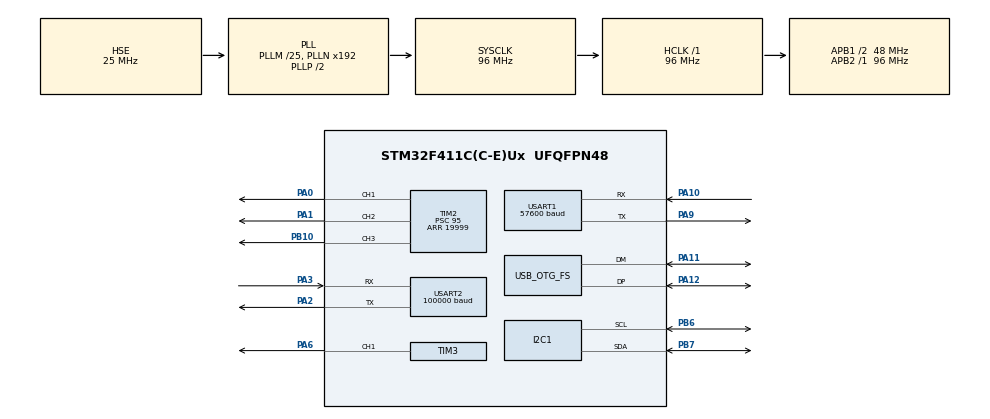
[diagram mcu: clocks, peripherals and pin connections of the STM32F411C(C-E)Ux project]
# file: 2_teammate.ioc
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Mcu.Family=STM32F4
Mcu.Name=STM32F411C(C-E)Ux
Mcu.Package=UFQFPN48
NVIC.OTG_FS_IRQn=true\:0\:0\:false\:false\:true\:false\:true\:true
NVIC.PriorityGroup=NVIC_PRIORITYGROUP_4
NVIC.USART1_IRQn=true\:0\:0\:false\:false\:true\:true\:true\:true
NVIC.USART2_IRQn=true\:0\:0\:false\:false\:true\:true\:true\:true
PA0-WKUP.Signal=S_TIM2_CH1_ETR
PA1.Signal=S_TIM2_CH2
PA10.Mode=Asynchronous
PA10.Signal=USART1_RX
PA11.Mode=Device_Only
PA11.Signal=USB_OTG_FS_DM
PA12.Mode=Device_Only
PA12.Signal=USB_OTG_FS_DP
PA13.Mode=Serial_Wire
PA13.Signal=SYS_JTMS-SWDIO
PA14.Mode=Serial_Wire
PA14.Signal=SYS_JTCK-SWCLK
PA2.Mode=Asynchronous
PA2.Signal=USART2_TX
PA3.Mode=Asynchronous
PA3.Signal=USART2_RX
PA6.Signal=S_TIM3_CH1
PA9.Mode=Asynchronous
PA9.Signal=USART1_TX
PB10.Signal=S_TIM2_CH3
PB6.Mode=I2C
PB6.Signal=I2C1_SCL
PB7.Mode=I2C
PB7.Signal=I2C1_SDA
PH0\ -\ OSC_IN.Mode=HSE-External-Oscillator
PH0\ -\ OSC_IN.Signal=RCC_OSC_IN
PH1\ -\ OSC_OUT.Mode=HSE-External-Oscillator
PH1\ -\ OSC_OUT.Signal=RCC_OSC_OUT
ProjectManager.HeapSize=0x200
ProjectManager.StackSize=0x400
ProjectManager.TargetToolchain=STM32CubeIDE
RCC.48MHZClocksFreq_Value=48000000
RCC.AHBFreq_Value=96000000
RCC.APB1CLKDivider=RCC_HCLK_DIV2
RCC.APB1Freq_Value=48000000
RCC.APB1TimFreq_Value=96000000
RCC.APB2Freq_Value=96000000
RCC.APB2TimFreq_Value=96000000
RCC.CortexFreq_Value=96000000
RCC.HCLKFreq_Value=96000000
RCC.HSE_VALUE=25000000
RCC.HSI_VALUE=16000000
RCC.LSE_VALUE=32768
RCC.PLLM=25
RCC.SYSCLKFreq_VALUE=96000000
RCC.SYSCLKSource=RCC_SYSCLKSOURCE_PLLCLK
RCC.VCOOutputFreq_Value=192000000
SH.S_TIM2_CH1_ETR.0=TIM2_CH1,PWM Generation1 CH1
SH.S_TIM2_CH2.0=TIM2_CH2,PWM Generation2 CH2
SH.S_TIM2_CH3.0=TIM2_CH3,PWM Generation3 CH3
SH.S_TIM3_CH1.0=TIM3_CH1,PWM Generation1 CH1
TIM2.Channel-PWM\ Generation1\ CH1=TIM_CHANNEL_1
TIM2.Channel-PWM\ Generation2\ CH2=TIM_CHANNEL_2
TIM2.Channel-PWM\ Generation3\ CH3=TIM_CHANNEL_3
TIM2.Period=19999
TIM2.Prescaler=95
TIM3.Channel-PWM\ Generation1\ CH1=TIM_CHANNEL_1
USART1.BaudRate=57600
USART1.VirtualMode=VM_ASYNC
USART2.BaudRate=100000
USART2.Parity=PARITY_EVEN
USART2.StopBits=STOPBITS_2
USART2.VirtualMode=VM_ASYNC
USART2.WordLength=WORDLENGTH_9B
USB_DEVICE.CLASS_NAME_FS=CDC
USB_DEVICE.VirtualMode=Cdc
USB_DEVICE.VirtualModeFS=Cdc_FS
USB_OTG_FS.VirtualMode=Device_Only
VP_TIM2_VS_ClockSourceINT.Mode=Internal
VP_USB_DEVICE_VS_USB_DEVICE_CDC_FS.Mode=CDC_FS
board=custom

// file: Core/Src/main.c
/* USER CODE BEGIN Header */
/**
  ******************************************************************************
  * @file           : main.c
  * @brief          : Main program body - UAV Flight Controller (STM32F411)
  ******************************************************************************
  */
/* USER CODE END Header */
#include "main.h"
#include "usb_device.h"

/* USER CODE BEGIN Includes */
#include "mpu6050.h"
#include "bmp280.h"
#include "servo.h"
#include "pid.h"
#include "sbus.h"
#include "mav_telemetry.h"
/* USER CODE END Includes */

/* USER CODE BEGIN PD */
#define USE_MAVLINK         1       // 1 = aktifkan telemetri MAVLink ke Mission Planner, 0 = matikan
#define MAX_STAB_ANGLE      30.0f   // Batas sudut target saat mode Stabilize PID (derajat)
#define MAX_MANUAL_DEFLECT  45.0f   // Batas defleksi servo saat mode Manual (derajat)
#define TEST_SENSOR_ONLY    0       // 0 = mode terbang normal (Manual <-> Stabilize via SBUS), 1 = tes sensor saja
/* USER CODE END PD */

I2C_HandleTypeDef hi2c1;

TIM_HandleTypeDef htim2;
TIM_HandleTypeDef htim3;

UART_HandleTypeDef huart1;
UART_HandleTypeDef huart2;

/* USER CODE BEGIN PV */
MPU6050_t mpu;
BMP280_t  bmp;
SBUS_t    sbus;

uint8_t   bmp_ok = 0;

// Objek aktuator permukaan kendali (Dual Aileron & Elevator)
Servo_t servo_aileron_right;  // TIM2 CH1 (PA0)
Servo_t servo_aileron_left;   // TIM2 CH2 (PA1)
Servo_t servo_elevator;       // TIM2 CH3 (PA2 / PB10)

// Objek PID untuk kestabilan Roll (Aileron) dan Pitch (Elevator)
PID_t pid_roll;
PID_t pid_pitch;

float roll_cmd  = 0.0f;
float pitch_cmd = 0.0f;

uint32_t last_tick = 0;
/* USER CODE END PV */

void SystemClock_Config(void);
static void MX_GPIO_Init(void);
static void MX_I2C1_Init(void);
static void MX_TIM2_Init(void);
static void MX_TIM3_Init(void);
static void MX_USART1_UART_Init(void);
static void MX_USART2_UART_Init(void);

int main(void)
{

  /* MCU Configuration--------------------------------------------------------*/

  /* Reset of all peripherals, Initializes the Flash interface and the Systick. */
  HAL_Init();

  /* Configure the system clock */
  SystemClock_Config();

  /* Initialize all configured peripherals */
  MX_GPIO_Init();
  MX_I2C1_Init();
  MX_TIM2_Init();
  MX_TIM3_Init();
  MX_USART1_UART_Init();
  MX_USB_DEVICE_Init();
  MX_USART2_UART_Init();
  /* USER CODE BEGIN 2 */

  // Jeda 100 ms agar sensor selesai power-up saat baterai dicolok
  HAL_Delay(100);

  // 1. Inisialisasi Servo Sesuai Konfigurasi Fisik
  Servo_Init(&servo_aileron_right, &htim2, TIM_CHANNEL_1); // Aileron Kanan
  Servo_Init(&servo_aileron_left,  &htim2, TIM_CHANNEL_2); // Aileron Kiri
  Servo_Init(&servo_elevator,      &htim2, TIM_CHANNEL_3); // Elevator

  // 2. Inisialisasi Sensor MPU6050 & Kalibrasi Gyro (Pastikan pesawat diam datar saat start!)
  if (MPU6050_Init(&hi2c1, &mpu) == HAL_OK) {
      MPU6050_Calibrate_Gyro(&hi2c1, &mpu, 500);
  }

  // 3. Inisialisasi Barometer & Ambil Baseline Altitude (Ground Level)
  if (BMP280_Init(&hi2c1, &bmp)) {
      bmp_ok = 1;
      BMP280_Calibrate_Altitude(&hi2c1, &bmp, 30);
  }

  // 4. Inisialisasi Receiver SBUS pada USART2 (PA3)
  SBUS_Init(&sbus, &huart2);

  // 5. Inisialisasi PID untuk Roll (Aileron) dan Pitch (Elevator)
  PID_Init(&pid_roll,  0.8f, 0.05f, 0.1f, -45.0f, 45.0f);
  PID_Init(&pid_pitch, 0.8f, 0.05f, 0.1f, -45.0f, 45.0f);

  // 6. Daftarkan parameter PID ke Mission Planner & aktifkan RX UART1 (57600 bps)
#if USE_MAVLINK
  mav_register_param("PID_ROLL_P",  &pid_roll.Kp);
  mav_register_param("PID_ROLL_I",  &pid_roll.Ki);
  mav_register_param("PID_ROLL_D",  &pid_roll.Kd);
  mav_register_param("PID_PITCH_P", &pid_pitch.Kp);
  mav_register_param("PID_PITCH_I", &pid_pitch.Ki);
  mav_register_param("PID_PITCH_D", &pid_pitch.Kd);

  #if MAV_OVER_UART
  mav_uart_start_rx();
  #endif
#endif

  last_tick = HAL_GetTick();
  /* USER CODE END 2 */

  /* Infinite loop */
  /* USER CODE BEGIN WHILE */
  while (1)
  {
    uint32_t current_tick = HAL_GetTick();
    float dt = (current_tick - last_tick) / 1000.0f;

    // Eksekusi kontrol loop setiap 10ms (100 Hz)
    if (dt >= 0.01f) {
        last_tick = current_tick;

        // A. Baca Sensor IMU & Hitung Sudut (Complementary Filter)
        if (MPU6050_Read_All(&hi2c1, &mpu) == HAL_OK) {
            MPU6050_Update_Angle(&mpu);
        }

        // B. Baca Barometer (Suhu, Tekanan, Ketinggian)
        if (bmp_ok) {
            BMP280_Update(&hi2c1, &bmp);
        }

        // C. Perhitungan Kendali (Mode Tes Sensor vs Mode Terbang Manual/Stabilize SBUS)
        roll_cmd  = 0.0f;
        pitch_cmd = 0.0f;

#if TEST_SENSOR_ONLY
        // Mode Uji Coba Sensor: PID langsung menstabilkan board ke sudut datar (0 derajat)
        roll_cmd  = PID_Compute(&pid_roll,  0.0f, mpu.roll,  dt);
        pitch_cmd = PID_Compute(&pid_pitch, 0.0f, mpu.pitch, dt);
#else
        if (SBUS_IsConnected(&sbus)) {
            // Channel 5 (indeks 4) sebagai sakelar mode terbang (> 1500 = Stabilize PID, <= 1500 = Manual)
            uint8_t mode_stabilize = (sbus.channels[4] > 1500) ? 1 : 0;

            if (mode_stabilize) {
                // Mode Stabilize: Stik menentukan target sudut (-30 s.d. +30 derajat), PID mengoreksi
                float roll_setpoint  = SBUS_ChannelToFloat(sbus.channels[0], -MAX_STAB_ANGLE, MAX_STAB_ANGLE);
                float pitch_setpoint = SBUS_ChannelToFloat(sbus.channels[1], -MAX_STAB_ANGLE, MAX_STAB_ANGLE);

                roll_cmd  = PID_Compute(&pid_roll,  roll_setpoint,  mpu.roll,  dt);
                pitch_cmd = PID_Compute(&pid_pitch, pitch_setpoint, mpu.pitch, dt);
            } else {
                // Mode Manual: Reset integral PID & gerakkan bidang kendali langsung (-45 s.d. +45 derajat)
                PID_Reset(&pid_roll);
                PID_Reset(&pid_pitch);

                roll_cmd  = SBUS_ChannelToFloat(sbus.channels[0], -MAX_MANUAL_DEFLECT, MAX_MANUAL_DEFLECT);
                pitch_cmd = SBUS_ChannelToFloat(sbus.channels[1], -MAX_MANUAL_DEFLECT, MAX_MANUAL_DEFLECT);
            }
        } else {
            // Failsafe: Sinyal receiver hilang -> netralkan bidang kendali (90 derajat)
            PID_Reset(&pid_roll);
            PID_Reset(&pid_pitch);
            roll_cmd  = 0.0f;
            pitch_cmd = 0.0f;
        }
#endif

        // D. Mixing ke Servo Aileron Kanan, Aileron Kiri, dan Elevator
        float aileron_right_angle = 90.0f + roll_cmd;
        float aileron_left_angle  = 90.0f - roll_cmd;
        float elevator_angle      = 90.0f + pitch_cmd;

        Servo_SetAngle(&servo_aileron_right, aileron_right_angle);
        Servo_SetAngle(&servo_aileron_left,  aileron_left_angle);
        Servo_SetAngle(&servo_elevator,      elevator_angle);

        // E. Kirim Telemetri MAVLink ke Mission Planner via USART1 (57600 bps)
#if USE_MAVLINK
        mav_telemetry_update(mpu.roll, mpu.pitch, roll_cmd, pitch_cmd, mpu.yaw, bmp.altitude);
#endif
    }
    /* USER CODE END WHILE */

  }
}

void SystemClock_Config(void)
{
  RCC_OscInitTypeDef RCC_OscInitStruct = {0};
  RCC_ClkInitTypeDef RCC_ClkInitStruct = {0};

  /** Configure the main internal regulator output voltage
  */
  __HAL_RCC_PWR_CLK_ENABLE();
  __HAL_PWR_VOLTAGESCALING_CONFIG(PWR_REGULATOR_VOLTAGE_SCALE1);

  /** Initializes the RCC Oscillators according to the specified parameters
  * in the RCC_OscInitTypeDef structure.
  */
  RCC_OscInitStruct.OscillatorType = RCC_OSCILLATORTYPE_HSE;
  RCC_OscInitStruct.HSEState = RCC_HSE_ON;
  RCC_OscInitStruct.PLL.PLLState = RCC_PLL_ON;
  RCC_OscInitStruct.PLL.PLLSource = RCC_PLLSOURCE_HSE;
  RCC_OscInitStruct.PLL.PLLM = 25;
  RCC_OscInitStruct.PLL.PLLN = 192;
  RCC_OscInitStruct.PLL.PLLP = RCC_PLLP_DIV2;
  RCC_OscInitStruct.PLL.PLLQ = 4;
  if (HAL_RCC_OscConfig(&RCC_OscInitStruct) != HAL_OK)
  {
    Error_Handler();
  }

  /** Initializes the CPU, AHB and APB buses clocks
  */
  RCC_ClkInitStruct.ClockType = RCC_CLOCKTYPE_HCLK|RCC_CLOCKTYPE_SYSCLK
                              |RCC_CLOCKTYPE_PCLK1|RCC_CLOCKTYPE_PCLK2;
  RCC_ClkInitStruct.SYSCLKSource = RCC_SYSCLKSOURCE_PLLCLK;
  RCC_ClkInitStruct.AHBCLKDivider = RCC_SYSCLK_DIV1;
  RCC_ClkInitStruct.APB1CLKDivider = RCC_HCLK_DIV2;
  RCC_ClkInitStruct.APB2CLKDivider = RCC_HCLK_DIV1;

  if (HAL_RCC_ClockConfig(&RCC_ClkInitStruct, FLASH_LATENCY_3) != HAL_OK)
  {
    Error_Handler();
  }
}

static void MX_I2C1_Init(void)
{

  /* USER CODE BEGIN I2C1_Init 0 */
  __HAL_RCC_GPIOB_CLK_ENABLE();
  GPIO_InitTypeDef GPIO_InitStruct = {0};
  GPIO_InitStruct.Pin = GPIO_PIN_6 | GPIO_PIN_7;
  GPIO_InitStruct.Mode = GPIO_MODE_OUTPUT_OD;
  GPIO_InitStruct.Pull = GPIO_PULLUP;
  GPIO_InitStruct.Speed = GPIO_SPEED_FREQ_HIGH;
  HAL_GPIO_Init(GPIOB, &GPIO_InitStruct);
  for (int i = 0; i < 9; i++) {
      HAL_GPIO_WritePin(GPIOB, GPIO_PIN_6, GPIO_PIN_RESET);
      HAL_Delay(1);
      HAL_GPIO_WritePin(GPIOB, GPIO_PIN_6, GPIO_PIN_SET);
      HAL_Delay(1);
  }
  /* USER CODE END I2C1_Init 0 */

  hi2c1.Instance = I2C1;
  hi2c1.Init.ClockSpeed = 100000;
  hi2c1.Init.DutyCycle = I2C_DUTYCYCLE_2;
  hi2c1.Init.OwnAddress1 = 0;
  hi2c1.Init.AddressingMode = I2C_ADDRESSINGMODE_7BIT;
  hi2c1.Init.DualAddressMode = I2C_DUALADDRESS_DISABLE;
  hi2c1.Init.OwnAddress2 = 0;
  hi2c1.Init.GeneralCallMode = I2C_GENERALCALL_DISABLE;
  hi2c1.Init.NoStretchMode = I2C_NOSTRETCH_DISABLE;
  if (HAL_I2C_Init(&hi2c1) != HAL_OK)
  {
    Error_Handler();
  }

}

static void MX_TIM2_Init(void)
{

  TIM_ClockConfigTypeDef sClockSourceConfig = {0};
  TIM_MasterConfigTypeDef sMasterConfig = {0};
  TIM_OC_InitTypeDef sConfigOC = {0};

  htim2.Instance = TIM2;
  htim2.Init.Prescaler = 95;
  htim2.Init.CounterMode = TIM_COUNTERMODE_UP;
  htim2.Init.Period = 19999;
  htim2.Init.ClockDivision = TIM_CLOCKDIVISION_DIV1;
  htim2.Init.AutoReloadPreload = TIM_AUTORELOAD_PRELOAD_DISABLE;
  if (HAL_TIM_Base_Init(&htim2) != HAL_OK)
  {
    Error_Handler();
  }
  sClockSourceConfig.ClockSource = TIM_CLOCKSOURCE_INTERNAL;
  if (HAL_TIM_ConfigClockSource(&htim2, &sClockSourceConfig) != HAL_OK)
  {
    Error_Handler();
  }
  if (HAL_TIM_PWM_Init(&htim2) != HAL_OK)
  {
    Error_Handler();
  }
  sMasterConfig.MasterOutputTrigger = TIM_TRGO_RESET;
  sMasterConfig.MasterSlaveMode = TIM_MASTERSLAVEMODE_DISABLE;
  if (HAL_TIMEx_MasterConfigSynchronization(&htim2, &sMasterConfig) != HAL_OK)
  {
    Error_Handler();
  }
  sConfigOC.OCMode = TIM_OCMODE_PWM1;
  sConfigOC.Pulse = 0;
  sConfigOC.OCPolarity = TIM_OCPOLARITY_HIGH;
  sConfigOC.OCFastMode = TIM_OCFAST_DISABLE;
  if (HAL_TIM_PWM_ConfigChannel(&htim2, &sConfigOC, TIM_CHANNEL_1) != HAL_OK)
  {
    Error_Handler();
  }
  if (HAL_TIM_PWM_ConfigChannel(&htim2, &sConfigOC, TIM_CHANNEL_2) != HAL_OK)
  {
    Error_Handler();
  }
  if (HAL_TIM_PWM_ConfigChannel(&htim2, &sConfigOC, TIM_CHANNEL_3) != HAL_OK)
  {
    Error_Handler();
  }
  HAL_TIM_MspPostInit(&htim2);

}

static void MX_TIM3_Init(void)
{

  TIM_MasterConfigTypeDef sMasterConfig = {0};
  TIM_OC_InitTypeDef sConfigOC = {0};

  htim3.Instance = TIM3;
  htim3.Init.Prescaler = 0;
  htim3.Init.CounterMode = TIM_COUNTERMODE_UP;
  htim3.Init.Period = 65535;
  htim3.Init.ClockDivision = TIM_CLOCKDIVISION_DIV1;
  htim3.Init.AutoReloadPreload = TIM_AUTORELOAD_PRELOAD_DISABLE;
  if (HAL_TIM_PWM_Init(&htim3) != HAL_OK)
  {
    Error_Handler();
  }
  sMasterConfig.MasterOutputTrigger = TIM_TRGO_RESET;
  sMasterConfig.MasterSlaveMode = TIM_MASTERSLAVEMODE_DISABLE;
  if (HAL_TIMEx_MasterConfigSynchronization(&htim3, &sMasterConfig) != HAL_OK)
  {
    Error_Handler();
  }
  sConfigOC.OCMode = TIM_OCMODE_PWM1;
  sConfigOC.Pulse = 0;
  sConfigOC.OCPolarity = TIM_OCPOLARITY_HIGH;
  sConfigOC.OCFastMode = TIM_OCFAST_DISABLE;
  if (HAL_TIM_PWM_ConfigChannel(&htim3, &sConfigOC, TIM_CHANNEL_1) != HAL_OK)
  {
    Error_Handler();
  }
  HAL_TIM_MspPostInit(&htim3);

}

static void MX_USART1_UART_Init(void)
{

  huart1.Instance = USART1;
  huart1.Init.BaudRate = 115200;
  huart1.Init.WordLength = UART_WORDLENGTH_8B;
  huart1.Init.StopBits = UART_STOPBITS_1;
  huart1.Init.Parity = UART_PARITY_NONE;
  huart1.Init.Mode = UART_MODE_TX_RX;
  huart1.Init.HwFlowCtl = UART_HWCONTROL_NONE;
  huart1.Init.OverSampling = UART_OVERSAMPLING_16;
  if (HAL_UART_Init(&huart1) != HAL_OK)
  {
    Error_Handler();
  }

}

static void MX_USART2_UART_Init(void)
{

  huart2.Instance = USART2;
  huart2.Init.BaudRate = 100000;
  huart2.Init.WordLength = UART_WORDLENGTH_9B;
  huart2.Init.StopBits = UART_STOPBITS_2;
  huart2.Init.Parity = UART_PARITY_EVEN;
  huart2.Init.Mode = UART_MODE_TX_RX;
  huart2.Init.HwFlowCtl = UART_HWCONTROL_NONE;
  huart2.Init.OverSampling = UART_OVERSAMPLING_16;
  if (HAL_UART_Init(&huart2) != HAL_OK)
  {
    Error_Handler();
  }

}

static void MX_GPIO_Init(void)
{

  /* GPIO Ports Clock Enable */
  __HAL_RCC_GPIOH_CLK_ENABLE();
  __HAL_RCC_GPIOA_CLK_ENABLE();
  __HAL_RCC_GPIOB_CLK_ENABLE();

}

/* USER CODE BEGIN 4 */
void HAL_UART_RxCpltCallback(UART_HandleTypeDef *huart)
{
    if (huart->Instance == USART2) {
        SBUS_UART_RxCpltCallback(&sbus, huart);
    }
#if USE_MAVLINK && MAV_OVER_UART
    if (huart->Instance == USART1) {
        mav_uart_rx_callback(huart);
    }
#endif
}

void HAL_UART_ErrorCallback(UART_HandleTypeDef *huart)
{
    if (huart->Instance == USART2) {
        __HAL_UART_CLEAR_OREFLAG(huart);
        __HAL_UART_CLEAR_FEFLAG(huart);
        __HAL_UART_CLEAR_NEFLAG(huart);
        HAL_UART_Receive_IT(huart, &sbus.rx_byte, 1);
    }
#if USE_MAVLINK && MAV_OVER_UART
    if (huart->Instance == USART1) {
        mav_uart_error_callback(huart);
    }
#endif
}
/* USER CODE END 4 */

void Error_Handler(void)
{
  __disable_irq();
  while (1)
  {
  }
}
